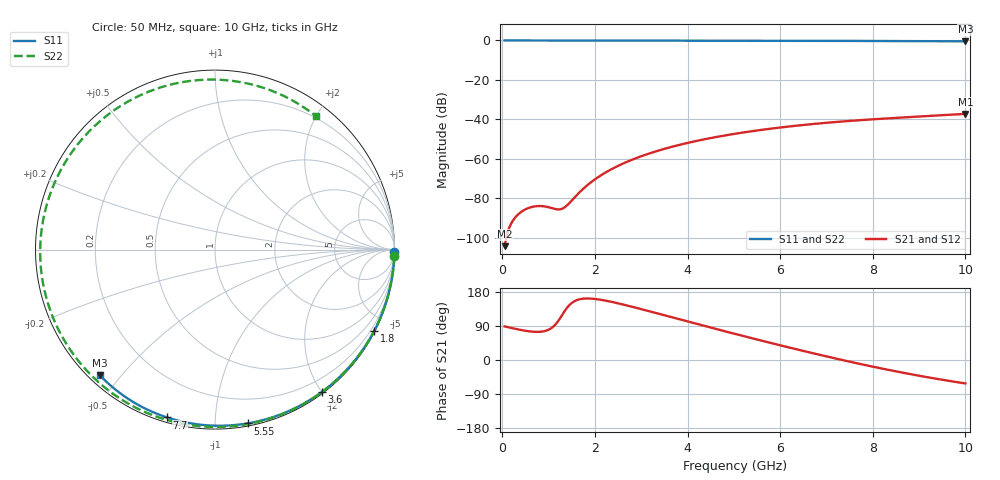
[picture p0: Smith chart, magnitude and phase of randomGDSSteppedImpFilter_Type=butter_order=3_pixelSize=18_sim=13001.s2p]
! freq	dB(S11)	phase(S11)	dB(S12)	phase(S12)
!  dB(S21)	phase(S21)	dB(S22)	phase(S22)
!S-par simulation data
#  GHz  S  DB  R 50
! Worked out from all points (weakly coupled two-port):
!   200 points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, 50 MHz to 10 GHz, reference 50 ohm
!   highest |S21| = -37.20 dB at 10 GHz (marker M1); lowest = -104.3 dB at 50 MHz (marker M2)
!   lowest |S11| = -0.4 dB at 10 GHz (marker M3), VSWR 38.83, Z = 1.54 - j21.9 ohm
!   |S11| at or under -10 dB: nowhere
!   |S22| runs from -0.6 to 0.0 dB; largest |S21 - S12| = 0
!   S11 on the Smith chart (normalised r, x): 50 MHz: open; 1.8 GHz: 0.04, -4.13; 3.6 GHz: 0.02, -2.00; 5.55 GHz: 0.02, -1.21; 7.7 GHz: 0.02, -0.75; 10 GHz: 0.03, -0.44
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0.05  -0.00 -0.8  -104.27 88.8  -104.27 88.8  -0.00 -2.2
0.35  -0.01 -5.4  -88.00 80.4  -88.00 80.4  -0.02 -14.9
0.7  -0.01 -10.7  -84.11 74.3  -84.11 74.3  -0.04 -29.6
1.1  -0.02 -16.7  -85.18 88.0  -85.18 88.0  -0.06 -45.9
1.5  -0.03 -22.7  -81.12 150.5  -81.12 150.5  -0.08 -61.6
1.55  -0.03 -23.5  -79.84 154.6  -79.84 154.6  -0.08 -63.5
1.75  -0.03 -26.4  -75.13 161.9  -75.13 161.9  -0.08 -70.9
1.8  -0.03 -27.2  -74.09 162.3  -74.09 162.3  -0.09 -72.8
2.1  -0.04 -31.6  -68.81 159.4  -68.81 159.4  -0.10 -83.5
2.45  -0.05 -36.7  -64.14 150.9  -64.14 150.9  -0.11 -95.5
2.9  -0.06 -43.2  -59.56 137.4  -59.56 137.4  -0.12 -110.1
3.4  -0.07 -50.3  -55.62 121.4  -55.62 121.4  -0.14 -125.3
3.6  -0.07 -53.2  -54.29 114.8  -54.29 114.8  -0.15 -131.2
4.3  -0.09 -62.8  -50.40 92.0  -50.40 92.0  -0.18 -150.7
5.05  -0.11 -72.8  -47.20 68.1  -47.20 68.1  -0.21 -170.5
5.55  -0.13 -79.4  -45.47 52.5  -45.47 52.5  -0.24 176.7
6.1  -0.15 -86.4  -43.85 35.8  -43.85 35.8  -0.27 162.7
6.7  -0.18 -93.9  -42.37 18.1  -42.37 18.1  -0.31 147.3
7.7  -0.24 -106.0  -40.44 -9.8  -40.44 -9.8  -0.38 120.8
8.35  -0.29 -113.6  -39.45 -26.4  -39.45 -26.4  -0.43 102.6
9.2  -0.36 -123.4  -38.30 -45.9  -38.30 -45.9  -0.51 77.6
10  -0.45 -132.6  -37.20 -61.9  -37.20 -61.9  -0.61 52.9
